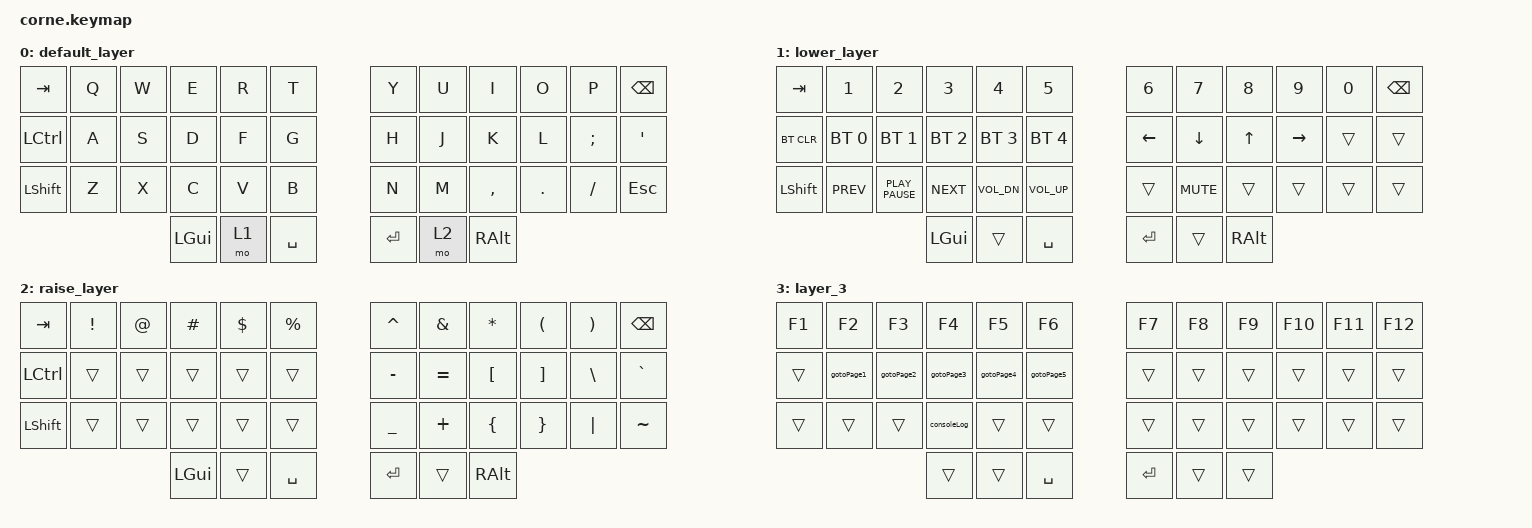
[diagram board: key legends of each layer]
/*
 * Copyright (c) 2020 The ZMK Contributors
 *
 * SPDX-License-Identifier: MIT
 */

#include <behaviors.dtsi>
#include <dt-bindings/zmk/bt.h>
#include <dt-bindings/zmk/keys.h>

/ {
    macros {
        gotoPage1: goto {
            compatible = "zmk,behavior-macro";
            #binding-cells = <0>;
            bindings = <&kp LCMD &kp NUMBER_1>;
            label = "GOTOPAGE1";
        };

        gotoPage2: gotoPage2 {
            compatible = "zmk,behavior-macro";
            #binding-cells = <0>;
            bindings = <&kp LCMD &kp NUMBER_2>;
            label = "GOTOPAGE2";
        };

        gotoPage3: gotoPage3 {
            compatible = "zmk,behavior-macro";
            #binding-cells = <0>;
            bindings = <&kp LCMD &kp NUMBER_3>;
            label = "GOTOPAGE3";
        };

        gotoPage4: gotoPage4 {
            compatible = "zmk,behavior-macro";
            #binding-cells = <0>;
            bindings = <&kp LCMD &kp NUMBER_4>;
            label = "GOTOPAGE4";
        };

        gotoPage5: gotoPage5 {
            compatible = "zmk,behavior-macro";
            #binding-cells = <0>;
            bindings = <&kp LCMD &kp NUMBER_5>;
            label = "GOTOPAGE5";
        };

        consoleLog: consoleLog {
            compatible = "zmk,behavior-macro";
            #binding-cells = <0>;
            bindings = <&none &kp C &kp O &kp N &kp S &kp O &kp L &kp E &kp DOT &kp L &kp O &kp G &kp LPAR &kp RPAR>;
            label = "CONSOLELOG";
        };
    };

    combos {
        compatible = "zmk,combos";

        layer3 {
            bindings = <&mo 3>;
            key-positions = <37 40>;
        };
    };

    keymap {
        compatible = "zmk,keymap";

        default_layer {
            // -----------------------------------------------------------------------------------------
            // |  TAB |  Q  |  W  |  E  |  R  |  T  |   |  Y  |  U   |  I  |  O  |  P  | BSPC |
            // | CTRL |  A  |  S  |  D  |  F  |  G  |   |  H  |  J   |  K  |  L  |  ;  |  '   |
            // | SHFT |  Z  |  X  |  C  |  V  |  B  |   |  N  |  M   |  ,  |  .  |  /  | ESC  |
            //                    | GUI | LWR | SPC |   | ENT | RSE  | ALT |

            bindings = <
&kp TAB    &kp Q  &kp W  &kp E     &kp R  &kp T        &kp Y    &kp U  &kp I      &kp O    &kp P     &kp BSPC
&kp LCTRL  &kp A  &kp S  &kp D     &kp F  &kp G        &kp H    &kp J  &kp K      &kp L    &kp SEMI  &kp SQT
&kp LSHFT  &kp Z  &kp X  &kp C     &kp V  &kp B        &kp N    &kp M  &kp COMMA  &kp DOT  &kp FSLH  &kp ESC
                         &kp LGUI  &mo 1  &kp SPACE    &kp RET  &mo 2  &kp RALT
            >;
        };

        lower_layer {
            // -----------------------------------------------------------------------------------------
            // |  TAB |  1  |  2  |  3  |  4  |  5  |   |  6  |  7  |  8  |  9  |  0  | BSPC |
            // | BTCLR| BT1 | BT2 | BT3 | BT4 | BT5 |   | LFT | DWN |  UP | RGT |     |      |
            // | SHFT |     |     |     |     |     |   |     |     |     |     |     |      |
            //                    | GUI |     | SPC |   | ENT |     | ALT |

            bindings = <
&kp TAB     &kp N1        &kp N2            &kp N3        &kp N4        &kp N5             &kp N6    &kp N7      &kp N8    &kp N9     &kp N0  &kp BSPC
&bt BT_CLR  &bt BT_SEL 0  &bt BT_SEL 1      &bt BT_SEL 2  &bt BT_SEL 3  &bt BT_SEL 4       &kp LEFT  &kp DOWN    &kp UP    &kp RIGHT  &trans  &trans
&kp LSHFT   &kp K_PREV    &kp K_PLAY_PAUSE  &kp K_NEXT    &kp C_VOL_DN  &kp C_VOLUME_UP    &trans    &kp K_MUTE  &trans    &trans     &trans  &trans
                                            &kp LGUI      &trans        &kp SPACE          &kp RET   &trans      &kp RALT
            >;
        };

        raise_layer {
            // -----------------------------------------------------------------------------------------
            // |  TAB |  !  |  @  |  #  |  $  |  %  |   |  ^  |  &  |  *  |  (  |  )  | BSPC |
            // | CTRL |     |     |     |     |     |   |  -  |  =  |  [  |  ]  |  \  |  `   |
            // | SHFT |     |     |     |     |     |   |  _  |  +  |  {  |  }  | "|" |  ~   |
            //                    | GUI |     | SPC |   | ENT |     | ALT |

            bindings = <
&kp TAB    &kp EXCL  &kp AT  &kp HASH  &kp DLLR  &kp PRCNT    &kp CARET  &kp AMPS   &kp ASTRK  &kp LPAR  &kp RPAR  &kp BSPC
&kp LCTRL  &trans    &trans  &trans    &trans    &trans       &kp MINUS  &kp EQUAL  &kp LBKT   &kp RBKT  &kp BSLH  &kp GRAVE
&kp LSHFT  &trans    &trans  &trans    &trans    &trans       &kp UNDER  &kp PLUS   &kp LBRC   &kp RBRC  &kp PIPE  &kp TILDE
                             &kp LGUI  &trans    &kp SPACE    &kp RET    &trans     &kp RALT
            >;
        };

        layer_3 {
            bindings = <
&kp F1  &kp F2      &kp F3      &kp F4       &kp F5      &kp F6        &kp F7     &kp F8  &kp F9  &kp F10  &kp F11  &kp F12
&trans  &gotoPage1  &gotoPage2  &gotoPage3   &gotoPage4  &gotoPage5    &trans     &trans  &trans  &trans   &trans   &trans
&trans  &trans      &trans      &consoleLog  &trans      &trans        &trans     &trans  &trans  &trans   &trans   &trans
                                &trans       &trans      &kp SPACE     &kp ENTER  &trans  &trans
            >;
        };
    };
};
